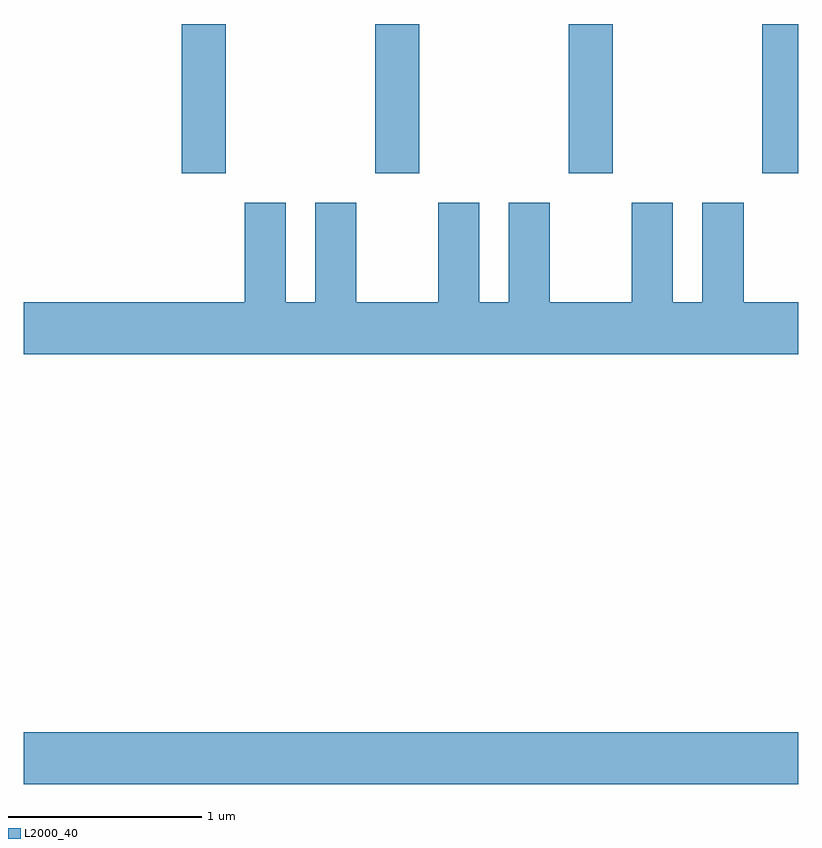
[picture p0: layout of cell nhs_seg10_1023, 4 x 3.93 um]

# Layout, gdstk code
import gdstk
lib = gdstk.Library(unit=1e-6, precision=1e-09)
def R(c, l, rs):  # rectangles x0, y0, x1, y1
    for r in rs: c.add(gdstk.rectangle(r[:2], r[2:], *l))
def A(c, l, x, y, w, h, nx, ny, dx, dy):  # array of equal rectangles
    R(c, l, [(x+i*dx, y+j*dy, x+i*dx+w, y+j*dy+h) for i in range(nx) for j in range(ny)])
def P(c, l, *ps):  # polygons
    for p in ps: c.add(gdstk.Polygon(p, *l))
L2000_40 = (2000, 40)

nhs_seg10_1023 = lib.new_cell('nhs_seg10_1023')
A(nhs_seg10_1023, L2000_40, 216.426, 2103.751, 0.228, 0.771, 3, 1, 1, 0)
R(nhs_seg10_1023, L2000_40, [(215.611,2100.596,219.611,2100.864), (219.426,2103.751,219.611,2104.522)])
P(nhs_seg10_1023, L2000_40, [(219.611,2103.084),(219.329,2103.084),(219.329,2103.599),(219.116,2103.599),(219.116,2103.084),(218.964,2103.084),(218.964,2103.599),(218.751,2103.599),(218.751,2103.084),(218.329,2103.084),(218.329,2103.599),(218.116,2103.599),(218.116,2103.084),(217.964,2103.084),(217.964,2103.599),(217.751,2103.599),(217.751,2103.084),(217.329,2103.084),(217.329,2103.599),(217.116,2103.599),(217.116,2103.084),(216.964,2103.084),(216.964,2103.599),(216.751,2103.599),(216.751,2103.084),(215.611,2103.084),(215.611,2102.816),(219.611,2102.816)])

lib.write_gds('nhs_seg10_1023.gds')
